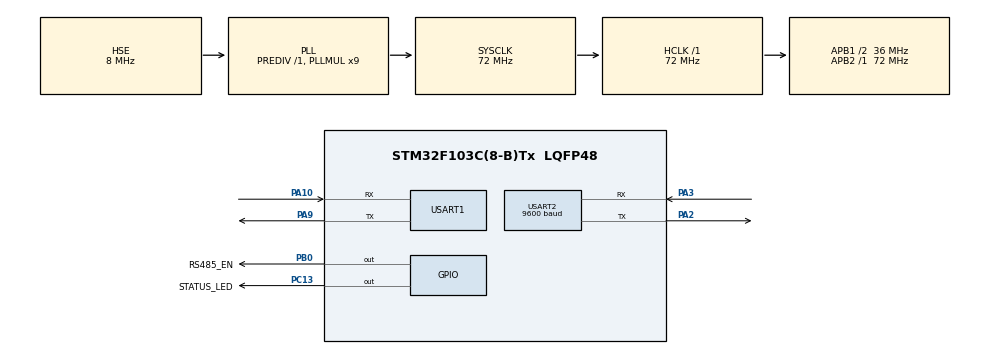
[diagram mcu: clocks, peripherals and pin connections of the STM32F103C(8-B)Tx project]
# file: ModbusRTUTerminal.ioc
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FREERTOS.Tasks01=SystemTask,0,256,StartSystemTask,Default,NULL,Dynamic,NULL,NULL
FREERTOS.configTOTAL_HEAP_SIZE=10240
Mcu.Family=STM32F1
Mcu.Name=STM32F103C(8-B)Tx
Mcu.Package=LQFP48
NVIC.PriorityGroup=NVIC_PRIORITYGROUP_4
NVIC.TIM4_IRQn=true\:15\:0\:false\:false\:true\:false\:false\:true\:true
NVIC.TimeBase=TIM4_IRQn
NVIC.TimeBaseIP=TIM4
NVIC.USART2_IRQn=true\:5\:0\:false\:false\:true\:true\:true\:true\:true
PA10.Mode=Asynchronous
PA10.Signal=USART1_RX
PA13.Mode=Serial_Wire
PA13.Signal=SYS_JTMS-SWDIO
PA14.Mode=Serial_Wire
PA14.Signal=SYS_JTCK-SWCLK
PA2.Mode=Asynchronous
PA2.Signal=USART2_TX
PA3.Mode=Asynchronous
PA3.Signal=USART2_RX
PA9.Mode=Asynchronous
PA9.Signal=USART1_TX
PB0.GPIO_Label=RS485_EN
PB0.Signal=GPIO_Output
PC13-TAMPER-RTC.GPIO_Label=STATUS_LED
PC13-TAMPER-RTC.PinState=GPIO_PIN_SET
PC13-TAMPER-RTC.Signal=GPIO_Output
PD0-OSC_IN.Mode=HSE-External-Oscillator
PD0-OSC_IN.Signal=RCC_OSC_IN
PD1-OSC_OUT.Mode=HSE-External-Oscillator
PD1-OSC_OUT.Signal=RCC_OSC_OUT
ProjectManager.HeapSize=0x200
ProjectManager.StackSize=0x400
ProjectManager.TargetToolchain=MDK-ARM V5.32
RCC.AHBFreq_Value=72000000
RCC.APB1CLKDivider=RCC_HCLK_DIV2
RCC.APB1Freq_Value=36000000
RCC.APB1TimFreq_Value=72000000
RCC.APB2Freq_Value=72000000
RCC.APB2TimFreq_Value=72000000
RCC.HCLKFreq_Value=72000000
RCC.PLLMUL=RCC_PLL_MUL9
RCC.PLLSourceVirtual=RCC_PLLSOURCE_HSE
RCC.SYSCLKFreq_VALUE=72000000
RCC.SYSCLKSource=RCC_SYSCLKSOURCE_PLLCLK
RCC.USBFreq_Value=72000000
USART1.VirtualMode=VM_ASYNC
USART2.BaudRate=9600
USART2.VirtualMode=VM_ASYNC
VP_FREERTOS_VS_CMSIS_V1.Mode=CMSIS_V1
VP_SYS_VS_tim4.Mode=TIM4
board=custom

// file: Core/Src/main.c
/* USER CODE BEGIN Header */
/**
  ******************************************************************************
  * @file           : main.c
  * @brief          : Main program body
  ******************************************************************************
  * @attention
  *
  * Copyright (c) 2026 STMicroelectronics.
  * All rights reserved.
  *
  * This software is licensed under terms that can be found in the LICENSE file
  * in the root directory of this software component.
  * If no LICENSE file comes with this software, it is provided AS-IS.
  *
  ******************************************************************************
  */
/* USER CODE END Header */
#include "main.h"
#include "cmsis_os.h"
#include "usart.h"
#include "gpio.h"

void SystemClock_Config(void);
void MX_FREERTOS_Init(void);

int main(void)
{

  /* MCU Configuration--------------------------------------------------------*/

  /* Reset of all peripherals, Initializes the Flash interface and the Systick. */
  HAL_Init();

  /* Configure the system clock */
  SystemClock_Config();

  /* Initialize all configured peripherals */
  MX_GPIO_Init();
  MX_USART1_UART_Init();
  MX_USART2_UART_Init();

  /* Call init function for freertos objects (in cmsis_os2.c) */
  MX_FREERTOS_Init();

  /* Start scheduler */
  osKernelStart();

  /* We should never get here as control is now taken by the scheduler */

  /* Infinite loop */
  while (1)
  {

  }
}

void SystemClock_Config(void)
{
  RCC_OscInitTypeDef RCC_OscInitStruct = {0};
  RCC_ClkInitTypeDef RCC_ClkInitStruct = {0};

  /** Initializes the RCC Oscillators according to the specified parameters
  * in the RCC_OscInitTypeDef structure.
  */
  RCC_OscInitStruct.OscillatorType = RCC_OSCILLATORTYPE_HSE;
  RCC_OscInitStruct.HSEState = RCC_HSE_ON;
  RCC_OscInitStruct.HSEPredivValue = RCC_HSE_PREDIV_DIV1;
  RCC_OscInitStruct.HSIState = RCC_HSI_ON;
  RCC_OscInitStruct.PLL.PLLState = RCC_PLL_ON;
  RCC_OscInitStruct.PLL.PLLSource = RCC_PLLSOURCE_HSE;
  RCC_OscInitStruct.PLL.PLLMUL = RCC_PLL_MUL9;
  if (HAL_RCC_OscConfig(&RCC_OscInitStruct) != HAL_OK)
  {
    Error_Handler();
  }

  /** Initializes the CPU, AHB and APB buses clocks
  */
  RCC_ClkInitStruct.ClockType = RCC_CLOCKTYPE_HCLK|RCC_CLOCKTYPE_SYSCLK
                              |RCC_CLOCKTYPE_PCLK1|RCC_CLOCKTYPE_PCLK2;
  RCC_ClkInitStruct.SYSCLKSource = RCC_SYSCLKSOURCE_PLLCLK;
  RCC_ClkInitStruct.AHBCLKDivider = RCC_SYSCLK_DIV1;
  RCC_ClkInitStruct.APB1CLKDivider = RCC_HCLK_DIV2;
  RCC_ClkInitStruct.APB2CLKDivider = RCC_HCLK_DIV1;

  if (HAL_RCC_ClockConfig(&RCC_ClkInitStruct, FLASH_LATENCY_2) != HAL_OK)
  {
    Error_Handler();
  }
}

void HAL_TIM_PeriodElapsedCallback(TIM_HandleTypeDef *htim)
{
  if (htim->Instance == TIM4) {
    HAL_IncTick();
  }
}

void Error_Handler(void)
{
  __disable_irq();
  while (1)
  {
  }
}

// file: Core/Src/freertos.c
/* USER CODE BEGIN Header */
/**
  ******************************************************************************
  * File Name          : freertos.c
  * Description        : Code for freertos applications
  ******************************************************************************
  * @attention
  *
  * Copyright (c) 2026 STMicroelectronics.
  * All rights reserved.
  *
  * This software is licensed under terms that can be found in the LICENSE file
  * in the root directory of this software component.
  * If no LICENSE file comes with this software, it is provided AS-IS.
  *
  ******************************************************************************
  */
/* USER CODE END Header */

#include "FreeRTOS.h"
#include "task.h"
#include "main.h"
#include "cmsis_os.h"

/* USER CODE BEGIN Includes */
#include "usart.h"
#include "rs485.h"
#include <string.h>
#include "modbus_crc.h"
#include <stddef.h>
#include "modbus_slave.h"
/* USER CODE END Includes */

/* USER CODE BEGIN Variables */
osThreadId deviceDataTaskHandle;
/* USER CODE END Variables */
osThreadId SystemTaskHandle;

/* USER CODE BEGIN FunctionPrototypes */
static void Debug_PrintHexFrame(const uint8_t *data,
                                uint16_t length);

void StartDeviceDataTask(
    void const * argument);
/* USER CODE END FunctionPrototypes */

void StartSystemTask(void const * argument);

void MX_FREERTOS_Init(void); /* (MISRA C 2004 rule 8.1) */

/* GetIdleTaskMemory prototype (linked to static allocation support) */
void vApplicationGetIdleTaskMemory( StaticTask_t **ppxIdleTaskTCBBuffer, StackType_t **ppxIdleTaskStackBuffer, uint32_t *pulIdleTaskStackSize );

/* USER CODE BEGIN GET_IDLE_TASK_MEMORY */
static StaticTask_t xIdleTaskTCBBuffer;
static StackType_t xIdleStack[configMINIMAL_STACK_SIZE];

void vApplicationGetIdleTaskMemory( StaticTask_t **ppxIdleTaskTCBBuffer, StackType_t **ppxIdleTaskStackBuffer, uint32_t *pulIdleTaskStackSize )
{
  *ppxIdleTaskTCBBuffer = &xIdleTaskTCBBuffer;
  *ppxIdleTaskStackBuffer = &xIdleStack[0];
  *pulIdleTaskStackSize = configMINIMAL_STACK_SIZE;
  /* place for user code */
}
/* USER CODE END GET_IDLE_TASK_MEMORY */

void MX_FREERTOS_Init(void) {

  /* Create the thread(s) */
  /* definition and creation of SystemTask */
  osThreadDef(SystemTask, StartSystemTask, osPriorityNormal, 0, 256);
  SystemTaskHandle = osThreadCreate(osThread(SystemTask), NULL);

  /* USER CODE BEGIN RTOS_THREADS */
  /* add threads, ... */
	osThreadDef(
    deviceDataTask,
    StartDeviceDataTask,
    osPriorityLow,
    0,
    128);

	deviceDataTaskHandle =
			osThreadCreate(
					osThread(deviceDataTask),
					NULL);
  /* USER CODE END RTOS_THREADS */

}

void StartSystemTask(void const * argument)
{
  /* USER CODE BEGIN StartSystemTask */

  const char boot_message[] =
    "\r\n[BOOT] Modbus functions 03/06 slave started\r\n";

  const char self_test_pass_message[] =
      "[CRC SELF TEST] PASS\r\n";

  const char self_test_fail_message[] =
      "[CRC SELF TEST] FAIL\r\n";

  const char rx_prefix[] =
      "[MODBUS RX] ";

  const char tx_prefix[] =
      "[MODBUS TX] ";

  const char crc_ok_message[] =
      "[MODBUS] CRC OK\r\n";

  const char crc_error_message[] =
      "[MODBUS] CRC ERROR\r\n";

  const char frame_too_short_message[] =
      "[MODBUS] FRAME TOO SHORT\r\n";

  const char unsupported_message[] =
      "[MODBUS] REQUEST NOT SUPPORTED\r\n";

  const char tx_ok_message[] =
      "[MODBUS] TX OK\r\n";

  const char tx_error_message[] =
      "[MODBUS] TX ERROR\r\n";

  const uint8_t crc_test_data[] =
  {
      0x01U,
      0x03U,
      0x00U,
      0x00U,
      0x00U,
      0x02U
  };

  uint8_t frame_buffer[RS485_RX_BUFFER_SIZE];

  uint8_t response_buffer[RS485_RX_BUFFER_SIZE];

  uint16_t frame_length;
  uint16_t response_length;
  uint16_t crc_test_result;

  HAL_StatusTypeDef send_status;

  HAL_UART_Transmit(&huart1,
                    (uint8_t *)boot_message,
                    sizeof(boot_message) - 1U,
                    100U);

  crc_test_result =
      Modbus_CRC16(crc_test_data,
                   (uint16_t)sizeof(crc_test_data));

  if (crc_test_result == 0x0BC4U)
  {
    HAL_UART_Transmit(
        &huart1,
        (uint8_t *)self_test_pass_message,
        sizeof(self_test_pass_message) - 1U,
        100U);
  }
  else
  {
    HAL_UART_Transmit(
        &huart1,
        (uint8_t *)self_test_fail_message,
        sizeof(self_test_fail_message) - 1U,
        100U);
  }

  /*
   * 初始化4个保持寄存器。
   */
  Modbus_SlaveInit();

  /*
   * 初始化RS485并启动中断接收。
   */
  RS485_Init();

  for (;;)
  {
    frame_length =
        RS485_ReadFrame(frame_buffer,
                        sizeof(frame_buffer));

    if (frame_length > 0U)
    {
      HAL_UART_Transmit(&huart1,
                        (uint8_t *)rx_prefix,
                        sizeof(rx_prefix) - 1U,
                        100U);

      Debug_PrintHexFrame(frame_buffer,
                          frame_length);

      if (frame_length < 4U)
      {
        HAL_UART_Transmit(
            &huart1,
            (uint8_t *)frame_too_short_message,
            sizeof(frame_too_short_message) - 1U,
            100U);
      }
      else if (Modbus_CheckCRC(frame_buffer,
                               frame_length) == 0U)
      {
				Modbus_RecordCrcError();

        HAL_UART_Transmit(
            &huart1,
            (uint8_t *)crc_error_message,
            sizeof(crc_error_message) - 1U,
            100U);
      }
      else
      {
        HAL_UART_Transmit(
            &huart1,
            (uint8_t *)crc_ok_message,
            sizeof(crc_ok_message) - 1U,
            100U);

				/*
				 * 只记录发给本机地址1的有效帧。
				 */
				if (frame_buffer[0] ==
						MODBUS_SLAVE_ADDRESS)
				{
						Modbus_RecordValidFrame(
								frame_buffer[1]);
				}

        /*
         * 解析功能码0x03请求，
         * 并生成合法的Modbus响应。
         */
        response_length =
            Modbus_SlaveProcessRequest(
                frame_buffer,
                frame_length,
                response_buffer,
                sizeof(response_buffer));

        if (response_length > 0U)
        {
          /*
           * 给USB-RS485转换器留出
           * 自动切换发送方向的时间。
           */
          osDelay(20U);

          send_status =
              RS485_Send(response_buffer,
                         response_length,
                         200U);

          /*
           * 在USART1调试窗口打印
           * STM32生成的响应报文。
           */
          HAL_UART_Transmit(
              &huart1,
              (uint8_t *)tx_prefix,
              sizeof(tx_prefix) - 1U,
              100U);

          Debug_PrintHexFrame(
              response_buffer,
              response_length);

          if (send_status == HAL_OK)
          {
            HAL_UART_Transmit(
                &huart1,
                (uint8_t *)tx_ok_message,
                sizeof(tx_ok_message) - 1U,
                100U);
          }
          else
          {
            HAL_UART_Transmit(
                &huart1,
                (uint8_t *)tx_error_message,
                sizeof(tx_error_message) - 1U,
                100U);
          }
        }
        else
        {
          HAL_UART_Transmit(
              &huart1,
              (uint8_t *)unsupported_message,
              sizeof(unsupported_message) - 1U,
              100U);
        }
      }

//      HAL_GPIO_TogglePin(STATUS_LED_GPIO_Port,
//                         STATUS_LED_Pin);
    }

    osDelay(1U);
  }

  /* USER CODE END StartSystemTask */
}

/* USER CODE BEGIN Application */

void StartDeviceDataTask(
    void const * argument)
{
    (void)argument;

    for (;;)
    {
        /*
         * 每秒更新一次动态寄存器。
         */
        Modbus_UpdateDeviceData();

        osDelay(1000U);
    }
}

/*
 * 把二进制数据以十六进制形式打印到USART1。
 *
 * 例如数组中保存：
 *
 * 0x01 0x03 0x00
 *
 * 窗口1显示：
 *
 * 01 03 00
 */
static void Debug_PrintHexFrame(const uint8_t *data,
                                uint16_t length)
{
    static const char hex_table[] =
        "0123456789ABCDEF";

    const uint8_t line_end[] =
        "\r\n";

    uint8_t text[3];
    uint16_t index;

    if (data == NULL)
    {
        return;
    }

    for (index = 0U;
         index < length;
         index++)
    {
        /*
         * 一个字节由两个十六进制数字显示。
         *
         * 例如0xC4：
         *
         * 高4位是C；
         * 低4位是4。
         */
        text[0] =
            (uint8_t)hex_table[
                (data[index] >> 4U) & 0x0FU
            ];

        text[1] =
            (uint8_t)hex_table[
                data[index] & 0x0FU
            ];

        /*
         * 每个字节后面添加一个空格。
         */
        text[2] = ' ';

        HAL_UART_Transmit(&huart1,
                          text,
                          sizeof(text),
                          100U);
    }

    HAL_UART_Transmit(&huart1,
                      (uint8_t *)line_end,
                      sizeof(line_end) - 1U,
                      100U);
}
/* USER CODE END Application */
